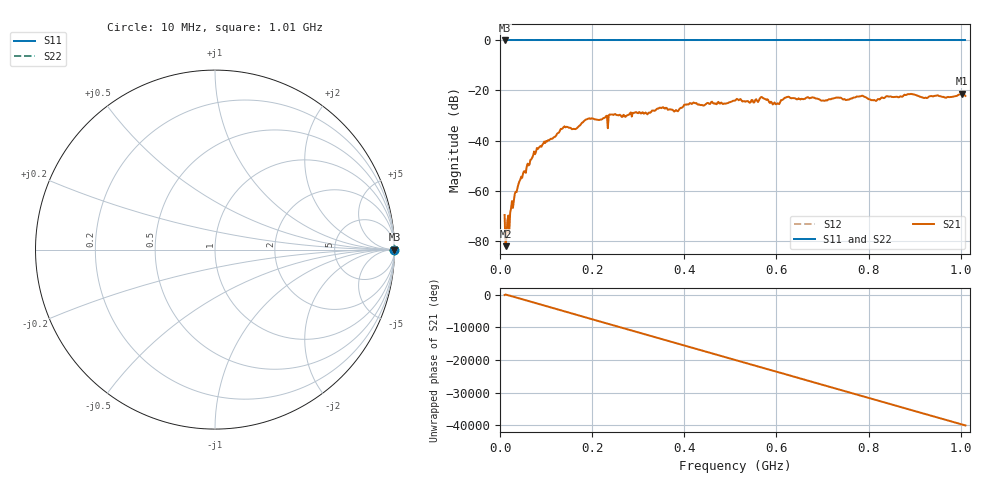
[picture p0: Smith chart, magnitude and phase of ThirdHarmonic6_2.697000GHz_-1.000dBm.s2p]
! 8/17/2025 6:26:13 AM
! C:\ANRITSUVNA\TEMP\TEMP.S2P
! CHANNEL.1
! TR.MEASUREMENT
! RAW.DATA
! RF.CORRECTION.OFF
! AVERAGING.OFF
! IF.BANDWIDTH: 5KHZ
! SWEEPTYPE:  FREQ.SWEEP(Linear)
! Reference Plane Port Info
! PORT:  PORT1  PORT2
! DISTANCE:  0  m  0  m
! TIME:  0  s  0  s
! PHASE.OFFSET:  0  deg.  0  deg.
! LOSS:  0  dB  0  dB
! REF.LOSS:  0  dB  0  dB
! REF.FREQ:  0  Hz  0  Hz
! Power Info
! POWER:  -20  dBm  -20  dBm
! EFF.POWER:  -20  dBm  -20  dBm
! SOURCE.ATTEN:  0  dB  0  dB
! TEST.ATTEN:  0  dB  0  dB
# GHZ S RI R 50.0
! FREQ.GHZ  S11RE  S11IM  S21RE  S21IM  S12RE  S12IM  S22RE  S22IM
!; PortSelection: Port_12
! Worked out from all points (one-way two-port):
!   501 points, 10 MHz to 1.01 GHz, reference 50 ohm
!   highest |S21| = -21.33 dB at 1.002 GHz (marker M1); lowest = -82.2 dB at 12 MHz (marker M2)
!   lowest |S11| = 0.0 dB at 10 MHz (marker M3)
!   |S11| at or under -10 dB: nowhere
!   |S22| runs from 0.0 to 0.0 dB; largest |S21 - S12| = 1.1
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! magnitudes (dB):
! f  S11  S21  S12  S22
! 10 MHz  0.0  -69.8  0.0  0.0
! 12 MHz  0.0  -82.2  0.0  0.0
! 16 MHz  0.0  -72.2  0.0  0.0
! 28 MHz  0.0  -67.0  0.0  0.0
! 42 MHz  0.0  -56.4  0.0  0.0
! 76 MHz  0.0  -45.5  0.0  0.0
! 136 MHz  0.0  -35.2  0.0  0.0
! 162 MHz  0.0  -35.4  0.0  0.0
! 178 MHz  0.0  -32.9  0.0  0.0
! 344 MHz  0.0  -27.2  0.0  0.0
! 382 MHz  0.0  -27.8  0.0  0.0
! 416 MHz  0.0  -25.4  0.0  0.0
! 510 MHz  0.0  -24.0  0.0  0.0
! 570 MHz  0.0  -22.9  0.0  0.0
! 602 MHz  0.0  -25.1  0.0  0.0
! 622 MHz  0.0  -22.7  0.0  0.0
! 678 MHz  0.0  -22.7  0.0  0.0
! 786 MHz  0.0  -22.1  0.0  0.0
! 814 MHz  0.0  -24.0  0.0  0.0
! 844 MHz  0.0  -22.5  0.0  0.0
! 1.002 GHz  0.0  -21.3  0.0  0.0
! 1.01 GHz  0.0  -22.2  0.0  0.0
